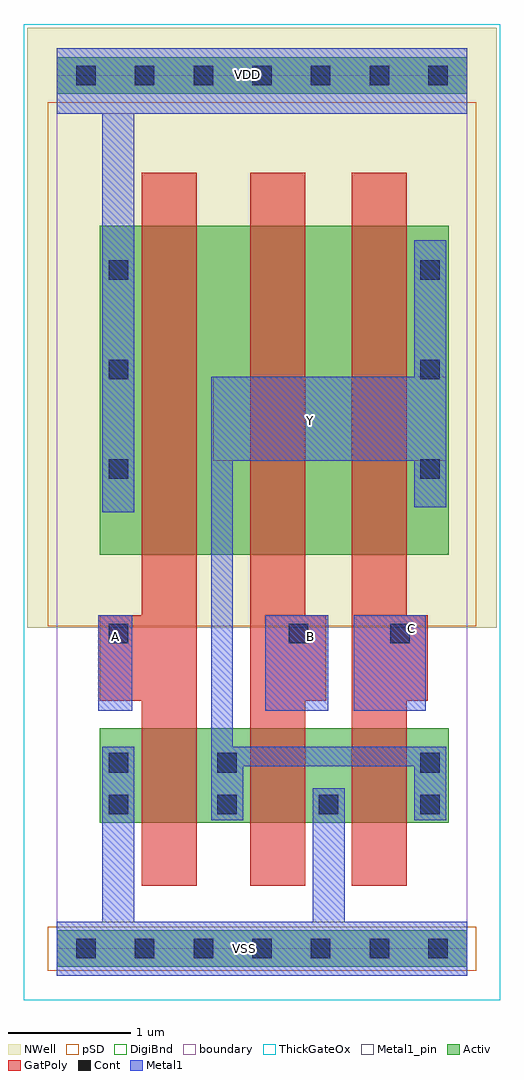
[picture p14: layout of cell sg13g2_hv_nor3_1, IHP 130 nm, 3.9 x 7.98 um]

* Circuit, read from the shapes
.subckt sg13g2_hv_nor3_1 A B C VDD VSS Y
XM1 Y A VSS VSS sg13_hv_nmos w=0.77u l=0.45u
XM2 VSS B Y VSS sg13_hv_nmos w=0.77u l=0.45u
XM3 Y C VSS VSS sg13_hv_nmos w=0.77u l=0.45u
XM4 n1 A VDD VDD sg13_hv_pmos w=2.69u l=0.45u
XM5 n2 B n1 VDD sg13_hv_pmos w=2.69u l=0.45u
XM6 Y C n2 VDD sg13_hv_pmos w=2.69u l=0.45u
.ends

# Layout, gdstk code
import gdstk
lib = gdstk.Library(unit=1e-6, precision=1e-09)
def R(c, l, rs):  # rectangles x0, y0, x1, y1
    for r in rs: c.add(gdstk.rectangle(r[:2], r[2:], *l))
def A(c, l, x, y, w, h, nx, ny, dx, dy):  # array of equal rectangles
    R(c, l, [(x+i*dx, y+j*dy, x+i*dx+w, y+j*dy+h) for i in range(nx) for j in range(ny)])
def P(c, l, *ps):  # polygons
    for p in ps: c.add(gdstk.Polygon(p, *l))
Activ = (1, 0)
GatPoly = (5, 0)
Cont = (6, 0)
Metal1 = (8, 0)
Metal1_pin = (8, 2)
pSD = (14, 0)
DigiBnd = (16, 0)
NWell = (31, 0)
ThickGateOx = (44, 0)
boundary = (189, 4)

sg13g2_hv_nor3_1 = lib.new_cell('sg13g2_hv_nor3_1')
R(sg13g2_hv_nor3_1, Activ, [(0,-0.15,3.36,0.15), (0.355,1.03,3.205,1.8), (0.355,3.22,3.205,5.91), (0,6.99,3.36,7.29)])
P(sg13g2_hv_nor3_1, GatPoly, [(2.415,0.515),(2.415,6.345),(2.865,6.345),(2.865,2.725),(3.035,2.725),(3.035,2.025),(2.865,2.025),(2.865,0.515)],
  [(0.695,0.515),(0.695,2.025),(0.355,2.025),(0.355,2.725),(0.695,2.725),(0.695,6.345),(1.145,6.345),(1.145,0.515)],
  [(1.585,0.515),(1.585,6.345),(2.035,6.345),(2.035,2.725),(2.205,2.725),(2.205,2.025),(2.035,2.025),(2.035,0.515)])
A(sg13g2_hv_nor3_1, Cont, 0.16, -0.08, 0.16, 0.16, 7, 2, 0.48, 7.14)
A(sg13g2_hv_nor3_1, Cont, 1.315, 1.1, 0.16, 0.16, 3, 1, 0.83, 0)
A(sg13g2_hv_nor3_1, Cont, 0.425, 3.84, 0.16, 0.16, 1, 3, 0, 0.815)
A(sg13g2_hv_nor3_1, Cont, 2.975, 3.84, 0.16, 0.16, 1, 3, 0, 0.815)
R(sg13g2_hv_nor3_1, Cont, [(0.425,1.1,0.585,1.26), (0.425,1.44,0.585,1.6), (1.315,1.44,1.475,1.6), (2.975,1.44,3.135,1.6), (0.425,2.495,0.585,2.655), (1.9,2.495,2.06,2.655), (2.73,2.495,2.89,2.655)])
R(sg13g2_hv_nor3_1, Metal1, [(0.34,1.945,0.62,2.725), (1.705,1.945,2.22,2.725), (2.43,1.945,3.02,2.725)])
P(sg13g2_hv_nor3_1, Metal1, [(0,-0.22),(0,0.22),(0.375,0.22),(0.375,1.65),(0.635,1.65),(0.635,0.22),(2.095,0.22),(2.095,1.31),(2.355,1.31),(2.355,0.22),(3.36,0.22),(3.36,-0.22)],
  [(0.375,3.57),(0.375,6.825),(0,6.825),(0,7.36),(3.36,7.36),(3.36,6.825),(0.635,6.825),(0.635,3.57)],
  [(1.265,1.05),(1.265,4.675),(2.925,4.675),(2.925,5.79),(3.185,5.79),(3.185,3.61),(2.925,3.61),(2.925,3.99),(1.44,3.99),(1.44,1.65),(3.185,1.65),(3.185,1.05),(2.925,1.05),(2.925,1.49),(1.525,1.49),(1.525,1.05)])
R(sg13g2_hv_nor3_1, Metal1_pin, [(0,-0.22,3.36,0.22), (0.34,1.945,0.62,2.725), (1.705,1.945,2.22,2.725), (2.43,1.945,3.02,2.725), (1.28,3.99,3.185,4.675), (0,6.825,3.36,7.36)])
R(sg13g2_hv_nor3_1, pSD, [(-0.07,-0.18,3.43,0.18), (-0.07,2.635,3.43,6.92)])
R(sg13g2_hv_nor3_1, DigiBnd, [(0,0,3.36,7.14)])
R(sg13g2_hv_nor3_1, NWell, [(-0.24,2.625,3.6,7.53)])
R(sg13g2_hv_nor3_1, ThickGateOx, [(-0.27,-0.42,3.63,7.56)])
R(sg13g2_hv_nor3_1, boundary, [(0,0,3.36,7.14)])
sg13g2_hv_nor3_1.add(gdstk.Label('A', (0.48,2.555), layer=8, texttype=25))
sg13g2_hv_nor3_1.add(gdstk.Label('Y', (2.08,4.315), layer=8, texttype=25))
sg13g2_hv_nor3_1.add(gdstk.Label('B', (2.08,2.555), layer=8, texttype=25))
sg13g2_hv_nor3_1.add(gdstk.Label('C', (2.9,2.615), layer=8, texttype=25))
sg13g2_hv_nor3_1.add(gdstk.Label('VDD', (1.56,7.145), layer=8, texttype=25))
sg13g2_hv_nor3_1.add(gdstk.Label('VSS', (1.535,0), layer=8, texttype=25))

lib.write_gds('sg13g2_hv_nor3_1.gds')
